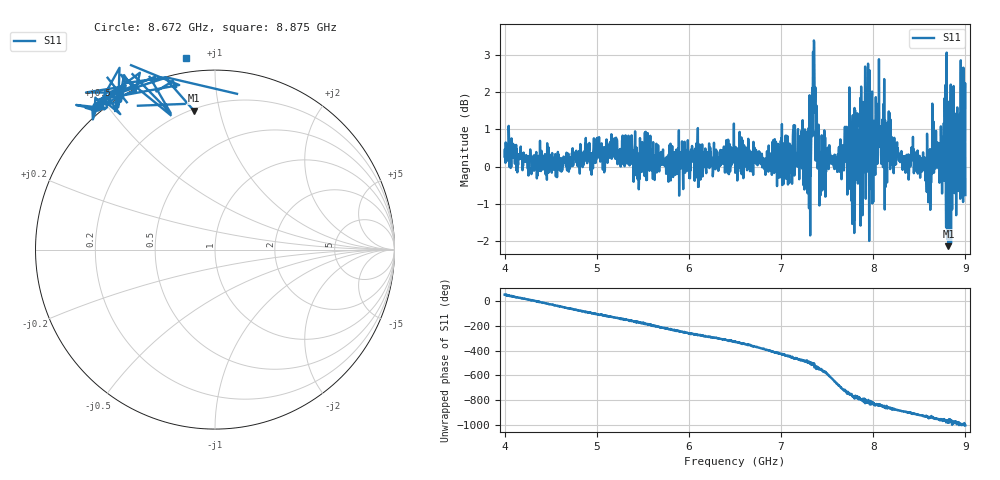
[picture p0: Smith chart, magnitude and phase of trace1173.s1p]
! Created with skrf 1.8.0 (http://scikit-rf.org).
# Hz S RI R 50.0
!freq ReS11 ImS11
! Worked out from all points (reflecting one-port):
!   1601 points, 4 GHz to 9 GHz, reference 50 ohm
!   lowest |S11| = -2.1 dB at 8.816 GHz (marker M1), VSWR 8.20, Z = 10.5 + j41.9 ohm
!   phase of S11 starts at 52 deg and turns -1054 deg over the sweep
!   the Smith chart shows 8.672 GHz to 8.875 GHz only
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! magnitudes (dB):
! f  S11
! 4 GHz  0.3
! 4.625 GHz  -0.1
! 5.016 GHz  0.6
! 5.25 GHz  0.1
! 5.875 GHz  0.0
! 6.5 GHz  0.3
! 7.125 GHz  0.1
! 7.303 GHz  -1.1
! 7.334 GHz  1.5
! 7.359 GHz  3.3
! 7.4 GHz  0.2
! 7.438 GHz  -0.3
! 7.491 GHz  0.1
! 7.75 GHz  0.7
! 7.788 GHz  0.6
! 7.828 GHz  1.4
! 7.859 GHz  1.8
! 7.922 GHz  0.8
! 8.016 GHz  0.0
! 8.053 GHz  1.1
! 8.375 GHz  0.2
! 8.612 GHz  0.2
! 8.666 GHz  0.5
! 8.731 GHz  0.1
! 8.816 GHz  -2.1
! 8.869 GHz  -0.6
! 8.972 GHz  0.8
! 9 GHz  -0.8
